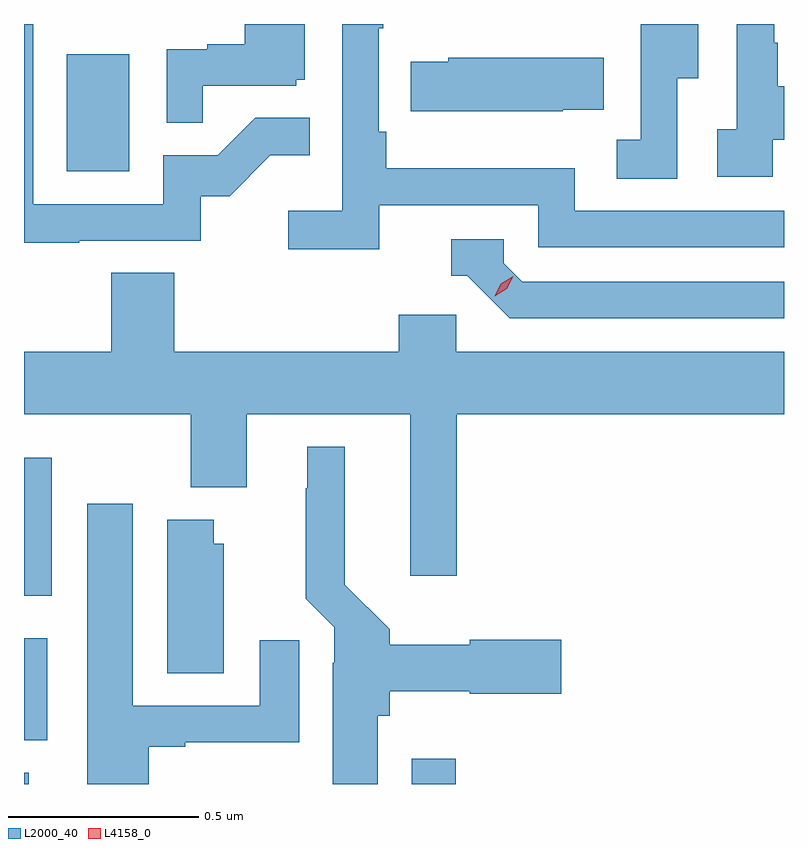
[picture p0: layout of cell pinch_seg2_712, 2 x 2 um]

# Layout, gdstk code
import gdstk
lib = gdstk.Library(unit=1e-6, precision=1e-09)
def R(c, l, rs):  # rectangles x0, y0, x1, y1
    for r in rs: c.add(gdstk.rectangle(r[:2], r[2:], *l))
def P(c, l, *ps):  # polygons
    for p in ps: c.add(gdstk.Polygon(p, *l))
L2000_40 = (2000, 40)
L4158_0 = (4158, 0)

pinch_seg2_712 = lib.new_cell('pinch_seg2_712')
R(pinch_seg2_712, L2000_40, [(1085.175,585.391,1085.188,585.421), (1086.195,585.391,1086.311,585.457), (1085.175,585.506,1085.236,585.775), (1085.175,585.887,1085.248,586.249), (1085.288,587.004,1085.452,587.311)])
P(pinch_seg2_712, L2000_40, [(1086.11,586.914),(1086.528,586.914),(1086.528,586.803),(1087.175,586.803),(1087.175,586.899),(1086.624,586.899),(1086.624,587.011),(1086.128,587.011),(1086.128,587.107),(1086.108,587.107),(1086.108,587.38),(1086.121,587.38),(1086.121,587.391),(1086.012,587.391),(1086.012,586.9),(1085.871,586.9),(1085.871,586.798),(1086.11,586.798)],
  [(1086.894,587.248),(1086.949,587.248),(1086.949,587.391),(1086.798,587.391),(1086.798,587.087),(1086.735,587.087),(1086.735,586.984),(1086.894,586.984)],
  [(1087.146,587.087),(1087.175,587.087),(1087.175,587.227),(1087.159,587.227),(1087.159,587.342),(1087.149,587.342),(1087.149,587.391),(1087.05,587.391),(1087.05,587.114),(1086.999,587.114),(1086.999,586.989),(1087.146,586.989)],
  [(1085.321,586.821),(1085.64,586.821),(1085.64,586.938),(1085.716,586.938),(1085.823,587.045),(1085.927,587.045),(1085.927,587.144),(1085.783,587.144),(1085.685,587.046),(1085.541,587.046),(1085.541,586.917),(1085.199,586.917),(1085.199,587.391),(1085.175,587.391),(1085.175,586.816),(1085.321,586.816)],
  [(1085.645,587.229),(1085.892,587.229),(1085.892,587.244),(1085.914,587.244),(1085.914,587.391),(1085.756,587.391),(1085.756,587.338),(1085.657,587.338),(1085.657,587.325),(1085.55,587.325),(1085.55,587.131),(1085.645,587.131)],
  [(1086.593,587.165),(1086.701,587.165),(1086.701,587.302),(1086.291,587.302),(1086.291,587.292),(1086.193,587.292),(1086.193,587.162),(1086.593,587.162)],
  [(1087.175,586.713),(1086.486,586.713),(1086.438,586.761),(1086.438,586.824),(1086.299,586.824),(1086.299,586.728),(1086.342,586.728),(1086.453,586.617),(1087.175,586.617)],
  [(1086.314,586.364),(1087.175,586.364),(1087.175,586.528),(1086.312,586.528),(1086.312,586.626),(1086.161,586.626),(1086.161,586.528),(1085.57,586.528),(1085.57,586.736),(1085.405,586.736),(1085.405,586.528),(1085.175,586.528),(1085.175,586.364),(1085.614,586.364),(1085.614,586.172),(1085.761,586.172),(1085.761,586.364),(1086.191,586.364),(1086.191,585.939),(1086.314,585.939)],
  [(1086.106,585.57),(1086.137,585.57),(1086.137,585.635),(1086.348,585.635),(1086.348,585.628),(1086.589,585.628),(1086.589,585.77),(1086.348,585.77),(1086.348,585.757),(1086.137,585.757),(1086.137,585.798),(1086.019,585.916),(1086.019,586.279),(1085.921,586.279),(1085.921,586.169),(1085.917,586.169),(1085.917,585.878),(1085.991,585.804),(1085.991,585.71),(1085.987,585.71),(1085.987,585.391),(1086.106,585.391)],
  [(1085.503,585.489),(1085.599,585.489),(1085.599,585.501),(1085.899,585.501),(1085.899,585.769),(1085.795,585.769),(1085.795,585.597),(1085.461,585.597),(1085.461,586.129),(1085.342,586.129),(1085.342,585.391),(1085.503,585.391)],
  [(1085.701,586.023),(1085.674,586.023),(1085.674,586.087),(1085.552,586.087),(1085.552,585.682),(1085.701,585.682)])
P(pinch_seg2_712, L4158_0, [(1086.414,586.675),(1086.414,586.675),(1086.43,586.708),(1086.462,586.727),(1086.462,586.727),(1086.462,586.727),(1086.445,586.694),(1086.414,586.675)])

lib.write_gds('pinch_seg2_712.gds')
